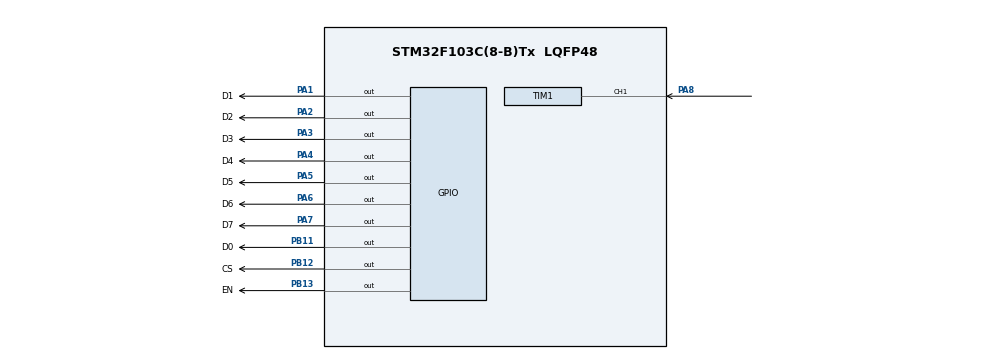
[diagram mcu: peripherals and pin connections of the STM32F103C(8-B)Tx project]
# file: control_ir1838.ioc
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Mcu.Family=STM32F1
Mcu.Name=STM32F103C(8-B)Tx
Mcu.Package=LQFP48
NVIC.PriorityGroup=NVIC_PRIORITYGROUP_4
NVIC.TIM1_CC_IRQn=true\:0\:0\:false\:false\:true\:true\:true\:true
NVIC.TIM1_UP_IRQn=true\:0\:0\:false\:false\:true\:true\:true\:true
PA1.GPIO_Label=D1
PA1.Signal=GPIO_Output
PA13.Mode=Serial_Wire
PA13.Signal=SYS_JTMS-SWDIO
PA14.Mode=Serial_Wire
PA14.Signal=SYS_JTCK-SWCLK
PA2.GPIO_Label=D2
PA2.Signal=GPIO_Output
PA3.GPIO_Label=D3
PA3.Signal=GPIO_Output
PA4.GPIO_Label=D4
PA4.Signal=GPIO_Output
PA5.GPIO_Label=D5
PA5.Signal=GPIO_Output
PA6.GPIO_Label=D6
PA6.Signal=GPIO_Output
PA7.GPIO_Label=D7
PA7.Signal=GPIO_Output
PA8.Signal=S_TIM1_CH1
PB11.GPIO_Label=D0
PB11.Signal=GPIO_Output
PB12.GPIO_Label=CS
PB12.Signal=GPIO_Output
PB13.GPIO_Label=EN
PB13.Signal=GPIO_Output
PD0-OSC_IN.Mode=HSE-External-Oscillator
PD0-OSC_IN.Signal=RCC_OSC_IN
PD1-OSC_OUT.Mode=HSE-External-Oscillator
PD1-OSC_OUT.Signal=RCC_OSC_OUT
ProjectManager.HeapSize=0x200
ProjectManager.StackSize=0x400
ProjectManager.TargetToolchain=MDK-ARM V5.32
RCC.APB1Freq_Value=8000000
RCC.APB2Freq_Value=8000000
SH.S_TIM1_CH1.0=TIM1_CH1,Input_Capture1_from_TI1
TIM1.Channel-Input_Capture1_from_TI1=TIM_CHANNEL_1
TIM1.ICPolarity_CH1=TIM_INPUTCHANNELPOLARITY_FALLING
TIM1.Prescaler=799
board=custom

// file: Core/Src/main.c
/* USER CODE BEGIN Header */
/**
  ******************************************************************************
  * @file           : main.c
  * @brief          : Main program body
  ******************************************************************************
  * @attention
  *
  * Copyright (c) 2025 STMicroelectronics.
  * All rights reserved.
  *
  * This software is licensed under terms that can be found in the LICENSE file
  * in the root directory of this software component.
  * If no LICENSE file comes with this software, it is provided AS-IS.
  *
  ******************************************************************************
  */
/* USER CODE END Header */
#include "main.h"

/* USER CODE BEGIN Includes */
#include "CLCD.h"
#include <stdio.h>
#include <string.h>
/* USER CODE END Includes */

TIM_HandleTypeDef htim1;

/* USER CODE BEGIN PV */
CLCD_Name LCD1;
uint8_t key_pre =0;
uint8_t key = 0;
char LCD_send[16];
char status[10];
/* USER CODE END PV */

void SystemClock_Config(void);
static void MX_GPIO_Init(void);
static void MX_TIM1_Init(void);
/* USER CODE BEGIN PFP */
#define START_MIN_TIME 130
#define START_MAX_TIME 140
#define COMMAND        17
//#define IR_PRESCALER   799

uint16_t time_pre = 0;
uint16_t time_current = 0;
uint16_t period = 0;
uint8_t count = 0;
uint32_t bit = 0;
uint32_t hex_ir = 0;

/* USER CODE END PFP */

int main(void)
{

  /* MCU Configuration--------------------------------------------------------*/

  /* Reset of all peripherals, Initializes the Flash interface and the Systick. */
  HAL_Init();

  /* Configure the system clock */
  SystemClock_Config();

  /* Initialize all configured peripherals */
  MX_GPIO_Init();
  MX_TIM1_Init();
  /* USER CODE BEGIN 2 */
HAL_TIM_IC_Start_IT(&htim1, TIM_CHANNEL_1);

CLCD_8BIT_Init(&LCD1, 16, 2,CS_GPIO_Port, CS_Pin, EN_GPIO_Port, EN_Pin,
               D0_GPIO_Port, D0_Pin, D1_GPIO_Port, D1_Pin,
							 D2_GPIO_Port, D2_Pin, D3_GPIO_Port, D3_Pin,
							 D4_GPIO_Port, D4_Pin, D5_GPIO_Port, D5_Pin,
							 D6_GPIO_Port, D6_Pin, D7_GPIO_Port, D7_Pin);

  /* USER CODE END 2 */

  /* Infinite loop */
  while (1)
  {

    /* USER CODE BEGIN 3 */
		CLCD_SetCursor(&LCD1, 0, 0);
		CLCD_WriteString(&LCD1, "DIEP VAN DU");
		sprintf(LCD_send, "So phim: %d",key);
		if(hex_ir != 0){
			//memset(status, 0, sizeof(status));
		  switch(hex_ir){
		     case 33476910: key = 0; break;
			   case 33448350: key = 1; break;
			   case 33436110: key = 2; break;
         case 33486090: key = 3; break;
			   case 33432030: key = 4; break;
			   case 33452430: key = 5; break;
			   case 33469770: key = 6; break;
			   case 33457530: key = 7; break;
			   case 33461610: key = 8; break;
			   case 33465690: key = 9; break;
				 case 33509550: key = key_pre + 1; break;
			 	 case 33538110: if (key_pre > 0) key = key_pre - 1; break;
				 case 33441210:
					 strcpy(status, "PREV"); break;
				 case 33424890:
					 strcpy(status, "NEXT"); break;
			   default: key = 0; break;
		}
		key_pre = key;
		if (strlen(status) == 0){
		   CLCD_SetCursor(&LCD1, 0, 1);
       //CLCD_WriteString(&LCD1, "                "); // clear line
		   sprintf(LCD_send, "So phim: %d",key);
		   //sprintf(LCD_send, "Ma phim: %lx",hex_ir);
		   CLCD_SetCursor(&LCD1, 0, 1);
		   CLCD_WriteString(&LCD1, LCD_send);
		}
		else{
		   CLCD_SetCursor(&LCD1, 0, 1);
       sprintf(LCD_send, "Chuc nang: %s", status);
		   CLCD_WriteString(&LCD1, status);
		}

	//	sprintf(LCD_send, "So phim: %d",key);
	//	CLCD_SetCursor(&LCD1, 8, 1);
	//	CLCD_WriteString(&LCD1, LCD_send);

		HAL_Delay(1000);
		hex_ir = 0;
  }
 }
  /* USER CODE END 3 */
}

void SystemClock_Config(void)
{
  RCC_OscInitTypeDef RCC_OscInitStruct = {0};
  RCC_ClkInitTypeDef RCC_ClkInitStruct = {0};

  /** Initializes the RCC Oscillators according to the specified parameters
  * in the RCC_OscInitTypeDef structure.
  */
  RCC_OscInitStruct.OscillatorType = RCC_OSCILLATORTYPE_HSI;
  RCC_OscInitStruct.HSIState = RCC_HSI_ON;
  RCC_OscInitStruct.HSICalibrationValue = RCC_HSICALIBRATION_DEFAULT;
  RCC_OscInitStruct.PLL.PLLState = RCC_PLL_NONE;
  if (HAL_RCC_OscConfig(&RCC_OscInitStruct) != HAL_OK)
  {
    Error_Handler();
  }

  /** Initializes the CPU, AHB and APB buses clocks
  */
  RCC_ClkInitStruct.ClockType = RCC_CLOCKTYPE_HCLK|RCC_CLOCKTYPE_SYSCLK
                              |RCC_CLOCKTYPE_PCLK1|RCC_CLOCKTYPE_PCLK2;
  RCC_ClkInitStruct.SYSCLKSource = RCC_SYSCLKSOURCE_HSI;
  RCC_ClkInitStruct.AHBCLKDivider = RCC_SYSCLK_DIV1;
  RCC_ClkInitStruct.APB1CLKDivider = RCC_HCLK_DIV1;
  RCC_ClkInitStruct.APB2CLKDivider = RCC_HCLK_DIV1;

  if (HAL_RCC_ClockConfig(&RCC_ClkInitStruct, FLASH_LATENCY_0) != HAL_OK)
  {
    Error_Handler();
  }
}

static void MX_TIM1_Init(void)
{

  TIM_MasterConfigTypeDef sMasterConfig = {0};
  TIM_IC_InitTypeDef sConfigIC = {0};

  htim1.Instance = TIM1;
  htim1.Init.Prescaler = 799;
  htim1.Init.CounterMode = TIM_COUNTERMODE_UP;
  htim1.Init.Period = 65535;
  htim1.Init.ClockDivision = TIM_CLOCKDIVISION_DIV1;
  htim1.Init.RepetitionCounter = 0;
  htim1.Init.AutoReloadPreload = TIM_AUTORELOAD_PRELOAD_DISABLE;
  if (HAL_TIM_IC_Init(&htim1) != HAL_OK)
  {
    Error_Handler();
  }
  sMasterConfig.MasterOutputTrigger = TIM_TRGO_RESET;
  sMasterConfig.MasterSlaveMode = TIM_MASTERSLAVEMODE_DISABLE;
  if (HAL_TIMEx_MasterConfigSynchronization(&htim1, &sMasterConfig) != HAL_OK)
  {
    Error_Handler();
  }
  sConfigIC.ICPolarity = TIM_INPUTCHANNELPOLARITY_FALLING;
  sConfigIC.ICSelection = TIM_ICSELECTION_DIRECTTI;
  sConfigIC.ICPrescaler = TIM_ICPSC_DIV1;
  sConfigIC.ICFilter = 0;
  if (HAL_TIM_IC_ConfigChannel(&htim1, &sConfigIC, TIM_CHANNEL_1) != HAL_OK)
  {
    Error_Handler();
  }

}

static void MX_GPIO_Init(void)
{
  GPIO_InitTypeDef GPIO_InitStruct = {0};

  /* GPIO Ports Clock Enable */
  __HAL_RCC_GPIOD_CLK_ENABLE();
  __HAL_RCC_GPIOA_CLK_ENABLE();
  __HAL_RCC_GPIOB_CLK_ENABLE();

  /*Configure GPIO pin Output Level */
  HAL_GPIO_WritePin(GPIOA, D1_Pin|D2_Pin|D3_Pin|D4_Pin
                          |D5_Pin|D6_Pin|D7_Pin, GPIO_PIN_RESET);

  /*Configure GPIO pin Output Level */
  HAL_GPIO_WritePin(GPIOB, D0_Pin|CS_Pin|EN_Pin, GPIO_PIN_RESET);

  /*Configure GPIO pins : D1_Pin D2_Pin D3_Pin D4_Pin
                           D5_Pin D6_Pin D7_Pin */
  GPIO_InitStruct.Pin = D1_Pin|D2_Pin|D3_Pin|D4_Pin
                          |D5_Pin|D6_Pin|D7_Pin;
  GPIO_InitStruct.Mode = GPIO_MODE_OUTPUT_PP;
  GPIO_InitStruct.Pull = GPIO_NOPULL;
  GPIO_InitStruct.Speed = GPIO_SPEED_FREQ_LOW;
  HAL_GPIO_Init(GPIOA, &GPIO_InitStruct);

  /*Configure GPIO pins : D0_Pin CS_Pin EN_Pin */
  GPIO_InitStruct.Pin = D0_Pin|CS_Pin|EN_Pin;
  GPIO_InitStruct.Mode = GPIO_MODE_OUTPUT_PP;
  GPIO_InitStruct.Pull = GPIO_NOPULL;
  GPIO_InitStruct.Speed = GPIO_SPEED_FREQ_LOW;
  HAL_GPIO_Init(GPIOB, &GPIO_InitStruct);

}

/* USER CODE BEGIN 4 */
void HAL_TIM_IC_CaptureCallback(TIM_HandleTypeDef *htim){
  time_current = HAL_TIM_ReadCapturedValue(&htim1, TIM_CHANNEL_1);
	period = time_current - time_pre;
	time_pre = time_current;
	if(period > START_MIN_TIME && period < START_MAX_TIME){
	  hex_ir = 0;
		count = 0;
		bit = 0;
	}
	else if(period > COMMAND){
	  bit = bit | 0x01;
		bit = bit << 1;
		count++;
	}
	else if(period < COMMAND){
	  bit = bit << 1;
		count++;
	}
	if(count == 32){
	  hex_ir =  bit;
	}
}
/* USER CODE END 4 */

void Error_Handler(void)
{
  __disable_irq();
  while (1)
  {
  }
}
